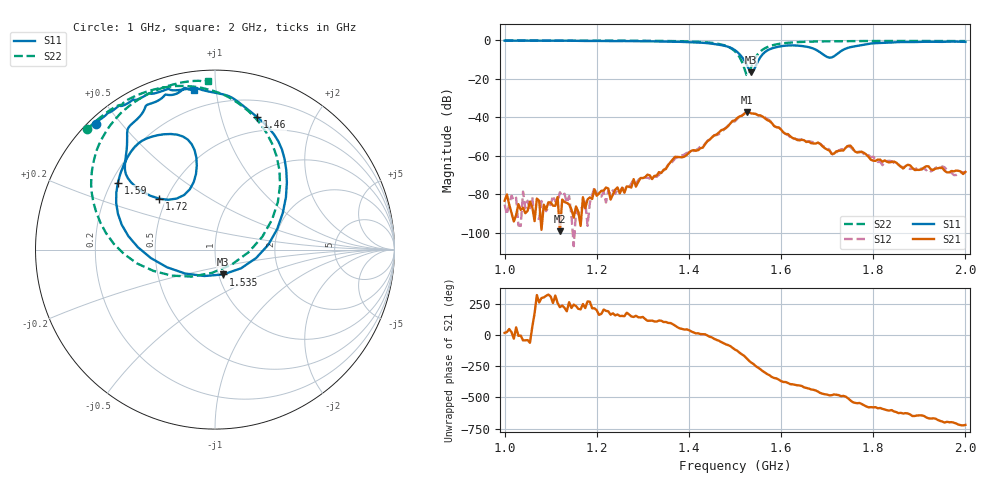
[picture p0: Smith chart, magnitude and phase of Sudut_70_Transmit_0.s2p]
# Hz S RI R 50
! CMT, C1220, 16058040, 17.2.0/1
! Date: 15/08/2018 09:01:00
! Data: Format (Calibration Info)
! Freq  S11: Re/Im (F2)  S21: Re/Im (F2)  S12: Re/Im (F2)  S22: Re/Im (F2)
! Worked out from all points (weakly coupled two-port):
!   201 points, 1 GHz to 2 GHz, reference 50 ohm
!   highest |S21| = -37.32 dB at 1.525 GHz (marker M1); lowest = -99.1 dB at 1.12 GHz (marker M2)
!   lowest |S11| = -16.7 dB at 1.535 GHz (marker M3), VSWR 1.34, Z = 52.7 - j14.9 ohm
!   |S11| at or under -10 dB: 1.519 GHz to 1.552 GHz (33.64 MHz wide, 2.19 % of centre)
!   |S22| runs from -18.1 to -0.2 dB; largest |S21 - S12| = 0.00056
!   S11 on the Smith chart (normalised r, x): 1 GHz: 0.02, +0.43; 1.46 GHz: 0.35, +1.31; 1.535 GHz: 1.05, -0.30; 1.59 GHz: 0.23, +0.30; 1.72 GHz: 0.46, +0.32; 2 GHz: 0.10, +0.88
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1e9  -0.6653 0.6997  6.49e-05 2.16e-05  4.22e-05 3.48e-05  -0.7111 0.6717
1.12e9  -0.5493 0.7901  -7.97e-06 -7.75e-06  5.42e-05 -0.000101  -0.6109 0.7583
1.17e9  -0.4904 0.8125  -2.95e-05 -7.91e-05  -3.58e-05 -2.94e-05  -0.5592 0.7933
1.195e9  -0.4542 0.8376  -0.00011 -7.73e-05  -0.000109 -0.000106  -0.5275 0.806
1.22e9  -0.4381 0.8348  -0.000146 -3.81e-05  -5.85e-05 -1.85e-05  -0.5098 0.8178
1.26e9  -0.365 0.8703  -9.72e-05 5.23e-05  -0.000116 7.7e-05  -0.456 0.8502
1.28e9  -0.3383 0.8701  -0.000206 0.00014  -0.000223 0.0001  -0.4281 0.8629
1.285e9  -0.3237 0.8738  -0.000144 6.72e-05  -0.000151 0.000108  -0.4196 0.8661
1.295e9  -0.2917 0.8842  -0.000209 0.000165  -0.000179 0.000197  -0.4015 0.8728
1.335e9  -0.234 0.8874  -0.000171 0.000337  -0.000124 0.000295  -0.3268 0.8953
1.46e9  0.2354 0.738  0.0028 -0.00222  0.00246 -0.0024  0.152 0.7996
1.5e9  0.4005 0.3744  -0.00364 -0.00752  -0.00341 -0.00707  0.3624 0.3574
1.525e9  0.2294 -0.0467  -0.0136 0.00114  -0.0138 0.00102  0.0926 -0.0837
1.535e9  0.0465 -0.1383  -0.00965 0.00804  -0.0097 0.00811  -0.1297 -0.1505
1.565e9  -0.4828 0.0751  0.00476 0.00808  0.00495 0.00861  -0.6081 0.0935
1.59e9  -0.5412 0.3725  0.00537 0.00123  0.00542 0.00104  -0.69 0.3589
1.67e9  -0.1302 0.5879  0.000416 -0.00205  0.000413 -0.00223  -0.5518 0.7308
1.72e9  -0.3109 0.2837  -0.000612 -0.00116  -0.000521 -0.00111  -0.457 0.816
1.75e9  -0.4977 0.4235  -0.00176 -0.000576  -0.00167 -0.000414  -0.4056 0.8494
1.82e9  -0.4493 0.7126  -0.00044 0.000552  -0.000497 0.000284  -0.2959 0.9005
1.835e9  -0.4083 0.7553  -0.000284 0.000612  -0.000305 0.000676  -0.2745 0.9076
2e9  -0.1144 0.8904  0.000383 9.06e-07  0.000381 2.14e-05  -0.0393 0.9417
